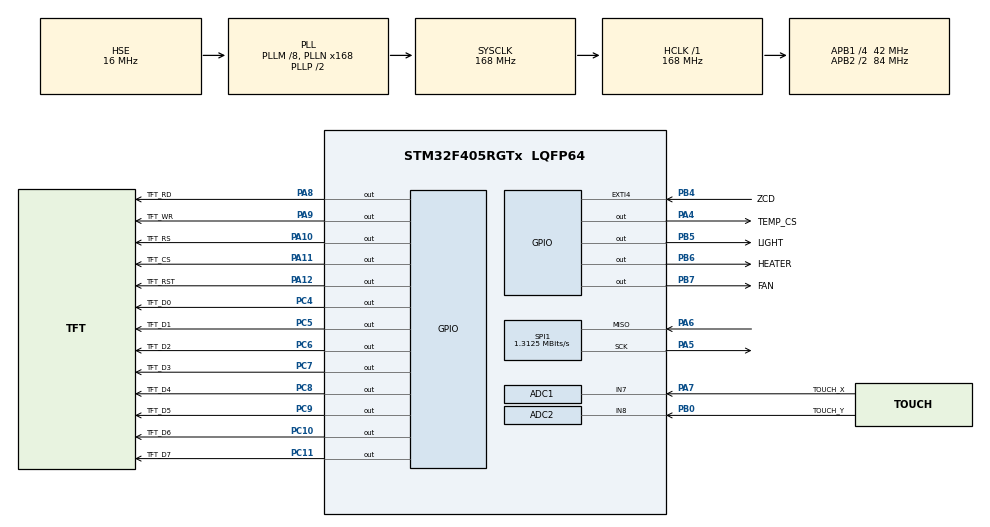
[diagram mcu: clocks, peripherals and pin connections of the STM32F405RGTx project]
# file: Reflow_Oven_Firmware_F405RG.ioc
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ADC1.Channel-0\#ChannelRegularConversion=ADC_CHANNEL_7
ADC1.ClockPrescaler=ADC_CLOCK_SYNC_PCLK_DIV4
ADC1.NbrOfConversionFlag=1
ADC1.Rank-0\#ChannelRegularConversion=1
ADC1.SamplingTime-0\#ChannelRegularConversion=ADC_SAMPLETIME_3CYCLES
ADC1.master=1
ADC2.Channel-0\#ChannelRegularConversion=ADC_CHANNEL_8
ADC2.ClockPrescaler=ADC_CLOCK_SYNC_PCLK_DIV4
ADC2.NbrOfConversionFlag=1
ADC2.Rank-0\#ChannelRegularConversion=1
ADC2.SamplingTime-0\#ChannelRegularConversion=ADC_SAMPLETIME_3CYCLES
Mcu.Family=STM32F4
Mcu.Name=STM32F405RGTx
Mcu.Package=LQFP64
NVIC.EXTI4_IRQn=true\:0\:0\:false\:false\:true\:true\:true
NVIC.PriorityGroup=NVIC_PRIORITYGROUP_4
NVIC.TIM1_BRK_TIM9_IRQn=true\:0\:0\:false\:false\:true\:true\:true
NVIC.TIM1_UP_TIM10_IRQn=true\:0\:0\:false\:false\:true\:true\:true
NVIC.TIM2_IRQn=true\:0\:0\:false\:false\:true\:true\:true
NVIC.TIM3_IRQn=true\:0\:0\:false\:false\:true\:true\:true
NVIC.TIM4_IRQn=true\:0\:0\:false\:false\:true\:true\:true
NVIC.TIM5_IRQn=true\:0\:0\:false\:false\:true\:true\:true
NVIC.TIM6_DAC_IRQn=true\:0\:0\:false\:false\:true\:true\:true
NVIC.TIM7_IRQn=true\:0\:0\:false\:false\:true\:true\:true
PA10.GPIO_Label=TFT_RS
PA10.PinState=GPIO_PIN_SET
PA10.Signal=GPIO_Output
PA11.GPIO_Label=TFT_CS
PA11.PinState=GPIO_PIN_SET
PA11.Signal=GPIO_Output
PA12.GPIO_Label=TFT_RST
PA12.PinState=GPIO_PIN_SET
PA12.Signal=GPIO_Output
PA13.Mode=Trace_Asynchronous_SW
PA13.Signal=SYS_JTMS-SWDIO
PA14.Mode=Trace_Asynchronous_SW
PA14.Signal=SYS_JTCK-SWCLK
PA4.GPIO_Label=TEMP_CS
PA4.PinState=GPIO_PIN_SET
PA4.Signal=GPIO_Output
PA5.Mode=RX_Only_Simplex_Unidirect_Master
PA5.Signal=SPI1_SCK
PA6.Mode=RX_Only_Simplex_Unidirect_Master
PA6.Signal=SPI1_MISO
PA7.GPIO_Label=TOUCH_X
PA7.Signal=ADCx_IN7
PA8.GPIO_Label=TFT_RD
PA8.PinState=GPIO_PIN_SET
PA8.Signal=GPIO_Output
PA9.GPIO_Label=TFT_WR
PA9.PinState=GPIO_PIN_SET
PA9.Signal=GPIO_Output
PB0.GPIO_Label=TOUCH_Y
PB0.Signal=ADCx_IN8
PB3.Mode=Trace_Asynchronous_SW
PB3.Signal=SYS_JTDO-SWO
PB4.GPIO_Label=ZCD
PB4.GPIO_ModeDefaultEXTI=GPIO_MODE_IT_FALLING
PB4.Signal=GPXTI4
PB5.GPIO_Label=LIGHT
PB5.Signal=GPIO_Output
PB6.GPIO_Label=HEATER
PB6.Signal=GPIO_Output
PB7.GPIO_Label=FAN
PB7.Signal=GPIO_Output
PC10.GPIO_Label=TFT_D6
PC10.PinState=GPIO_PIN_RESET
PC10.Signal=GPIO_Output
PC11.GPIO_Label=TFT_D7
PC11.PinState=GPIO_PIN_RESET
PC11.Signal=GPIO_Output
PC4.GPIO_Label=TFT_D0
PC4.PinState=GPIO_PIN_RESET
PC4.Signal=GPIO_Output
PC5.GPIO_Label=TFT_D1
PC5.PinState=GPIO_PIN_RESET
PC5.Signal=GPIO_Output
PC6.GPIO_Label=TFT_D2
PC6.PinState=GPIO_PIN_RESET
PC6.Signal=GPIO_Output
PC7.GPIO_Label=TFT_D3
PC7.PinState=GPIO_PIN_RESET
PC7.Signal=GPIO_Output
PC8.GPIO_Label=TFT_D4
PC8.PinState=GPIO_PIN_RESET
PC8.Signal=GPIO_Output
PC9.GPIO_Label=TFT_D5
PC9.PinState=GPIO_PIN_RESET
PC9.Signal=GPIO_Output
PH0-OSC_IN.Mode=HSE-External-Oscillator
PH0-OSC_IN.Signal=RCC_OSC_IN
PH1-OSC_OUT.Mode=HSE-External-Oscillator
PH1-OSC_OUT.Signal=RCC_OSC_OUT
ProjectManager.HeapSize=0x800
ProjectManager.StackSize=0x400
ProjectManager.TargetToolchain=STM32CubeIDE
RCC.48MHZClocksFreq_Value=48000000
RCC.AHBFreq_Value=168000000
RCC.APB1CLKDivider=RCC_HCLK_DIV4
RCC.APB1Freq_Value=42000000
RCC.APB1TimFreq_Value=84000000
RCC.APB2CLKDivider=RCC_HCLK_DIV2
RCC.APB2Freq_Value=84000000
RCC.APB2TimFreq_Value=168000000
RCC.CortexFreq_Value=168000000
RCC.HCLKFreq_Value=168000000
RCC.HSE_VALUE=16000000
RCC.HSI_VALUE=16000000
RCC.LSE_VALUE=32768
RCC.PLLM=8
RCC.PLLN=168
RCC.PLLQ=7
RCC.PLLSourceVirtual=RCC_PLLSOURCE_HSE
RCC.SYSCLKFreq_VALUE=168000000
RCC.SYSCLKSource=RCC_SYSCLKSOURCE_PLLCLK
RCC.VCOOutputFreq_Value=336000000
SH.ADCx_IN7.0=ADC1_IN7,IN7
SH.ADCx_IN8.0=ADC2_IN8,IN8
SPI1.BaudRatePrescaler=SPI_BAUDRATEPRESCALER_64
SPI1.CalculateBaudRate=1.3125 MBits/s
SPI1.Direction=SPI_DIRECTION_2LINES_RXONLY
SPI1.Mode=SPI_MODE_MASTER
SPI1.VirtualType=VM_MASTER
TIM10.Prescaler=84 - 1
TIM2.Period=0xffffffff
TIM2.Prescaler=84 - 1
TIM3.Period=10000
TIM3.Prescaler=84 - 1
TIM4.Period=500
TIM4.Prescaler=84 - 1
TIM5.Period=10000
TIM5.Prescaler=84 - 1
TIM6.Period=500
TIM6.Prescaler=84 - 1
TIM7.Period=10000
TIM7.Prescaler=84 - 1
TIM9.Period=500
TIM9.Prescaler=84 - 1
VP_TIM10_VS_ClockSourceINT.Mode=Enable_Timer
VP_TIM2_VS_ClockSourceINT.Mode=Internal
VP_TIM3_VS_ClockSourceINT.Mode=Internal
VP_TIM4_VS_ClockSourceINT.Mode=Internal
VP_TIM5_VS_ClockSourceINT.Mode=Internal
VP_TIM6_VS_ClockSourceINT.Mode=Enable_Timer
VP_TIM7_VS_ClockSourceINT.Mode=Enable_Timer
VP_TIM9_VS_ClockSourceINT.Mode=Internal
board=custom

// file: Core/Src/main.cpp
/* USER CODE BEGIN Header */
/**
 ******************************************************************************
 * @file           : main.c
 * @brief          : Main program body
 ******************************************************************************
 * @attention
 *
 * <h2><center>&copy; Copyright (c) 2021 STMicroelectronics.
 * All rights reserved.</center></h2>
 *
 * This software component is licensed by ST under BSD 3-Clause license,
 * the "License"; You may not use this file except in compliance with the
 * License. You may obtain a copy of the License at:
 *                        opensource.org/licenses/BSD-3-Clause
 *
 ******************************************************************************
 */
/* USER CODE END Header */
#include "main.h"
#include "adc.h"
#include "spi.h"
#include "tim.h"
#include "gpio.h"

/* USER CODE BEGIN Includes */
#include "Defines.h"
#include "ILI9341.h"
#include "MAX31855.h"
#include "Touch.h"
#include "ControllerPID.h"
#include "Load.h"
#include "functions.h"
/* USER CODE END Includes */

/* USER CODE BEGIN PV */
volatile interrupt_data_t interrupt_data =
    { 0 };

/* USER CODE END PV */

void SystemClock_Config(void);

int main(void)
{

    /* MCU Configuration--------------------------------------------------------*/

    /* Reset of all peripherals, Initializes the Flash interface and the Systick. */
    HAL_Init();

    /* Configure the system clock */
    SystemClock_Config();

    /* Initialize all configured peripherals */
    MX_GPIO_Init();
    MX_ADC1_Init();
    MX_ADC2_Init();
    MX_SPI1_Init();
    MX_TIM6_Init();
    MX_TIM2_Init();
    MX_TIM3_Init();
    MX_TIM7_Init();
    MX_TIM4_Init();
    MX_TIM5_Init();
    MX_TIM9_Init();
    MX_TIM10_Init();
    /* USER CODE BEGIN 2 */

    SPI_Repair();    // Rekonfiguration des SPI-Peripherals für MAX31855

    HAL_TIM_Base_Start_IT(&htim2);    // Globalen Timer starten.

    ILI9341 tft(TFT_ROATION_PORTRAIT);    // TFT-Display mit Rotation 4 (Ladnscape)
    MAX31855 temp(&hspi1, TEMP_CS_GPIO_Port, TEMP_CS_Pin);
    Touch touch(&hadc2, &hadc1, &interrupt_data.touchReadyFlag, &htim10);
    ControllerPID pid;    // PID-Controller

    Load heater(&htim3, &htim4, &interrupt_data.heater_state);
    Load fan(&htim5, &htim6, &interrupt_data.fan_state);
    Load light(&htim7, &htim9, &interrupt_data.light_state);

    context_t context(&tft, &temp, &touch, &pid, &heater, &fan, &light);

    /* USER CODE END 2 */

    /* Infinite loop */
    /* USER CODE BEGIN WHILE */
    while (1)
    {
        //////////////////////////////////
        //   ---- STATE-MACHINE ----    //
        //////////////////////////////////

        switch (context.currentState) {

            case STATE_BOOT:
                boot_initSystem(&context);
                break;

            case STATE_MENU_INIT:
                menu_init(&context);
                break;

            case STATE_MENU:
                menu_update(&context);
                break;

            case STATE_REFLOW_INIT:
                reflow_init(&context);
                break;

            case STATE_REFLOW:
                reflow_update(&context);
                break;

            case STATE_TEMPERATE_INIT:
                temperate_init(&context);
                break;

            case STATE_TEMPERATE:
                temperate_update(&context);
                break;

            case STATE_OPTIONS_INIT:
                options_init(&context);
                break;

            case STATE_OPTIONS:
                options_update(&context);
                break;

            case STATE_ERROR:
                error_show(&context);
                while (1);
        }
        /* USER CODE END WHILE */

    }
}

void SystemClock_Config(void)
{
    RCC_OscInitTypeDef RCC_OscInitStruct =
        { 0 };
    RCC_ClkInitTypeDef RCC_ClkInitStruct =
        { 0 };

    /** Configure the main internal regulator output voltage
     */
    __HAL_RCC_PWR_CLK_ENABLE();
    __HAL_PWR_VOLTAGESCALING_CONFIG(PWR_REGULATOR_VOLTAGE_SCALE1);
    /** Initializes the RCC Oscillators according to the specified parameters
     * in the RCC_OscInitTypeDef structure.
     */
    RCC_OscInitStruct.OscillatorType = RCC_OSCILLATORTYPE_HSE;
    RCC_OscInitStruct.HSEState = RCC_HSE_ON;
    RCC_OscInitStruct.PLL.PLLState = RCC_PLL_ON;
    RCC_OscInitStruct.PLL.PLLSource = RCC_PLLSOURCE_HSE;
    RCC_OscInitStruct.PLL.PLLM = 8;
    RCC_OscInitStruct.PLL.PLLN = 168;
    RCC_OscInitStruct.PLL.PLLP = RCC_PLLP_DIV2;
    RCC_OscInitStruct.PLL.PLLQ = 7;
    if (HAL_RCC_OscConfig(&RCC_OscInitStruct) != HAL_OK)
    {
        Error_Handler();
    }
    /** Initializes the CPU, AHB and APB buses clocks
     */
    RCC_ClkInitStruct.ClockType = RCC_CLOCKTYPE_HCLK | RCC_CLOCKTYPE_SYSCLK | RCC_CLOCKTYPE_PCLK1
            | RCC_CLOCKTYPE_PCLK2;
    RCC_ClkInitStruct.SYSCLKSource = RCC_SYSCLKSOURCE_PLLCLK;
    RCC_ClkInitStruct.AHBCLKDivider = RCC_SYSCLK_DIV1;
    RCC_ClkInitStruct.APB1CLKDivider = RCC_HCLK_DIV4;
    RCC_ClkInitStruct.APB2CLKDivider = RCC_HCLK_DIV2;

    if (HAL_RCC_ClockConfig(&RCC_ClkInitStruct, FLASH_LATENCY_5) != HAL_OK)
    {
        Error_Handler();
    }
}

/* USER CODE BEGIN 4 */
void HAL_GPIO_EXTI_Callback(uint16_t GPIO_Pin)
{
    switch (GPIO_Pin) {
        case ZCD_Pin:
            // HEATER
            if (interrupt_data.heater_state == LOAD_DUTY)
            {
                HAL_TIM_Base_Start_IT(&htim3);
                HAL_TIM_Base_Start_IT(&htim4);
            }
            else if (interrupt_data.heater_state == LOAD_ON)
                HEATER_GPIO_Port->BSRR = HEATER_Pin;

            else if (interrupt_data.heater_state == LOAD_OFF)
                HEATER_GPIO_Port->BSRR = (uint32_t) HEATER_Pin << 16U;

            // FAN
            if (interrupt_data.fan_state == LOAD_DUTY)
            {
                HAL_TIM_Base_Start_IT(&htim5);
                HAL_TIM_Base_Start_IT(&htim6);
            }
            else if (interrupt_data.fan_state == LOAD_ON)
                FAN_GPIO_Port->BSRR = FAN_Pin;

            else if (interrupt_data.fan_state == LOAD_OFF)
                FAN_GPIO_Port->BSRR = (uint32_t) FAN_Pin << 16U;

            // LIGHT
            if (interrupt_data.light_state == LOAD_DUTY)
            {
                HAL_TIM_Base_Start_IT(&htim7);
                HAL_TIM_Base_Start_IT(&htim9);
            }
            else if (interrupt_data.light_state == LOAD_ON)
                LIGHT_GPIO_Port->BSRR = LIGHT_Pin;

            else if (interrupt_data.light_state == LOAD_OFF)
                LIGHT_GPIO_Port->BSRR = (uint32_t) LIGHT_Pin << 16U;

            break;

        default:
            break;
    }
}

void HAL_TIM_PeriodElapsedCallback(TIM_HandleTypeDef *htim)
{
    if (htim == &htim2)
    {
        interrupt_data.timerOverflow++;
    }
    else if (htim == &htim3)    // Heizelement AN - Impuls START
    {
        HEATER_GPIO_Port->BSRR = HEATER_Pin;
        HAL_TIM_Base_Stop_IT(htim);
        htim->Instance->CNT = 0;

    }
    else if (htim == &htim4)    // Heizelement AN - Impuls STOP
    {
        HEATER_GPIO_Port->BSRR = (uint32_t) HEATER_Pin << 16U;
        HAL_TIM_Base_Stop_IT(htim);
        htim->Instance->CNT = 0;
    }
    else if (htim == &htim5)    // Lüfter AN - Impuls START
    {
        FAN_GPIO_Port->BSRR = FAN_Pin;
        HAL_TIM_Base_Stop_IT(htim);
        htim->Instance->CNT = 0;
    }
    else if (htim == &htim6)    // Lüfter AN - Impuls STOP
    {
        FAN_GPIO_Port->BSRR = (uint32_t) FAN_Pin << 16U;
        HAL_TIM_Base_Stop_IT(htim);
        htim->Instance->CNT = 0;
    }
    else if (htim == &htim7)    // Licht AN - Impuls START
    {
        LIGHT_GPIO_Port->BSRR = LIGHT_Pin;
        HAL_TIM_Base_Stop_IT(htim);
        htim->Instance->CNT = 0;
    }
    else if (htim == &htim9)    // Licht AN - Impuls STOP
    {
        LIGHT_GPIO_Port->BSRR = (uint32_t) LIGHT_Pin << 16U;
        HAL_TIM_Base_Stop_IT(htim);
        htim->Instance->CNT = 0;
    }
    else if (htim == &htim10)    // Touch-Delay
    {
        interrupt_data.touchReadyFlag = 1;
        HAL_TIM_Base_Stop_IT(htim);
        htim->Instance->CNT = 0;
    }
}
/* USER CODE END 4 */

void Error_Handler(void)
{
}

/************************ (C) COPYRIGHT STMicroelectronics *****END OF FILE****/
